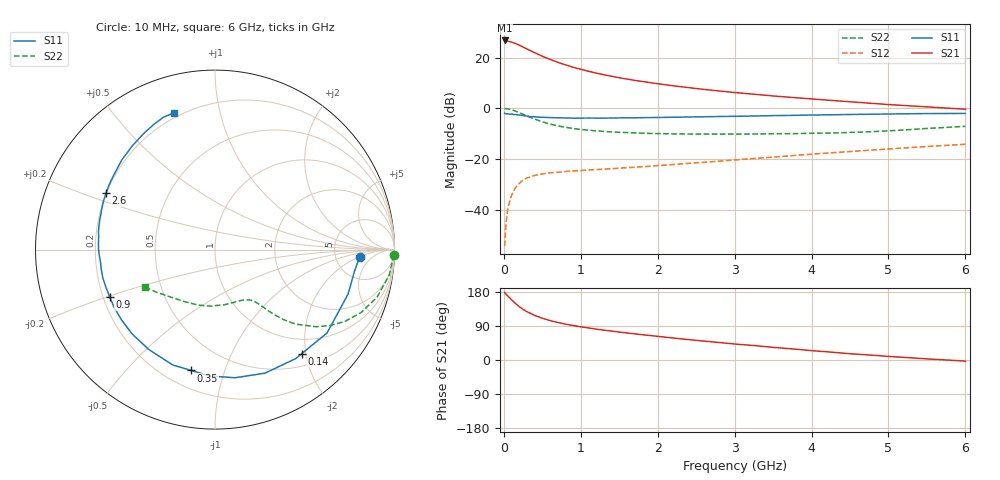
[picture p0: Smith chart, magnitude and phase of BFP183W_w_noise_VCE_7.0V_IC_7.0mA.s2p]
! Infineon Technologies  Discrete & RF Semiconductors
! BFP183W
! VCE =  7.0 V,  IC =  7.0 mA
! Common Emitter S-Parameters:  Jan 2017
# GHz  S  MA  R  50
!  f  S11  S21  S12  S22
! GHz  MAG  ANG  MAG  ANG  MAG  ANG  MAG  ANG
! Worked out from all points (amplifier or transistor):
!   77 points, 10 MHz to 6 GHz, reference 50 ohm
!   highest |S21| = 26.8 dB at 10 MHz (marker M1)
!   |S21| within 3 dB of that: start of sweep to 277 MHz
!   unconditionally stable (mu >= 1): 1.936 GHz to 4.02 GHz
!   at 130 MHz: K = 0.09, MSG = 29.2 dB, |S12| = -32.5 dB
!   at 2.2 GHz: K = 1.04, MAG = 14.3 dB, |S12| = -22.2 dB
!   at 6 GHz: K = 0.83, MSG = 6.9 dB, |S12| = -14.2 dB
!   lowest NFmin = 0.82 dB at 450 MHz
!   S11 on the Smith chart (normalised r, x): 10 MHz: 8.81, -2.13; 140 MHz: 0.72, -1.93; 350 MHz: 0.30, -0.77; 900 MHz: 0.23, -0.20; 2.6 GHz: 0.20, +0.24; 6 GHz: 0.18, +0.73
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0.01  0.8064 -3.0  21.99 178.6  0.0019 85.2  0.9961 -1.7
0.03  0.7825 -11.9  21.53 173.5  0.0056 83.5  0.9867 -5.1
0.05  0.7818 -18.5  21.37 169.3  0.0099 79.9  0.9808 -8.4
0.09  0.7727 -33.0  20.6 161.0  0.0172 75.3  0.9477 -14.7
0.14  0.7548 -50.1  19.41 151.5  0.0254 66.8  0.8964 -21.8
0.2  0.7425 -68.0  17.77 141.0  0.0329 59.4  0.8264 -29.0
0.25  0.7227 -81.1  16.34 133.6  0.0387 52.5  0.7651 -33.6
0.3  0.7046 -92.4  14.94 127.5  0.0422 48.1  0.7075 -37.4
0.35  0.6862 -101.2  13.73 123.0  0.0447 45.2  0.6601 -39.8
0.4  0.6845 -110.2  12.62 117.6  0.0474 42.6  0.6141 -42.6
0.5  0.6676 -123.7  10.74 110.2  0.0509 38.2  0.5439 -45.7
0.6  0.6588 -134.5  9.306 104.1  0.0536 35.9  0.4909 -47.6
0.7  0.6516 -142.9  8.15 99.1  0.0547 34.8  0.452 -48.9
0.9  0.6432 -155.9  6.51 90.9  0.0582 33.6  0.4016 -50.7
1.1  0.6444 -165.8  5.418 84.6  0.0607 34.6  0.3716 -52.2
1.5  0.6491 179.7  4.035 73.8  0.0659 36.8  0.3372 -56.1
2.1  0.6652 163.3  2.935 60.3  0.076 41.2  0.316 -65.1
2.6  0.6838 152.5  2.375 49.9  0.0862 44.1  0.3108 -75.2
3.1  0.7016 142.9  1.999 40.6  0.0984 46.1  0.3108 -85.8
4.1  0.7428 127.0  1.5 23.2  0.1277 46.9  0.3239 -109.3
5.1  0.7789 115.1  1.167 8.2  0.1617 44.5  0.3676 -135.0
6  0.7964 106.5  0.963 -3.0  0.1958 40.0  0.4434 -152.0
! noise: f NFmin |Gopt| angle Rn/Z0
0.45  0.82  0.16  68  0.11
0.9  0.91  0.21  112  0.1
1.9  1.45  0.39  172  0.07
2.4  1.71  0.45  -173  0.09
